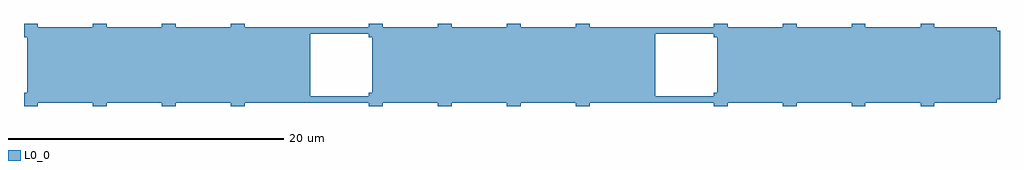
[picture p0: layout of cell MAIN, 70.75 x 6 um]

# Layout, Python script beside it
import gdspy

# Create a new library
lib = gdspy.GdsLibrary()

# Create a new cell
cell = lib.new_cell('MAIN')

# 1. Draw three rectangular active regions
active_width = 20
active_height = 5
active_spacing = 5

for i in range(3):
    x = i * (active_width + active_spacing)
    active = gdspy.Rectangle((x, 0), (x + active_width, active_height))
    cell.add(active)

# 2. Create complex polysilicon gate pattern
gate_width = 0.5
gate_spacing = 5
total_width = 3 * active_width + 2 * active_spacing
total_height = active_height

# Vertical lines
for x in range(0, int(total_width) + 1, gate_spacing):
    gate_v = gdspy.Path(gate_width, (x, 0))
    gate_v.segment(total_height, '+y')
    cell.add(gate_v)

# Horizontal lines
for y in range(0, int(total_height) + 1, gate_spacing):
    gate_h = gdspy.Path(gate_width, (0, y))
    gate_h.segment(total_width, '+x')
    cell.add(gate_h)

# 3. Add contact holes at intersections
contact_size = 1

for x in range(0, int(total_width) + 1, gate_spacing):
    for y in range(0, int(total_height) + 1, gate_spacing):
        # Check if the contact is within an active region
        active_index = x // (active_width + active_spacing)
        if 0 <= active_index < 3 and active_index * (active_width + active_spacing) <= x < (active_index + 1) * active_width + active_index * active_spacing:
            contact = gdspy.Rectangle((x - contact_size/2, y - contact_size/2),
                                      (x + contact_size/2, y + contact_size/2))
            cell.add(contact)

# Save the layout to a GDS file
lib.write_gds('layout.gds')

# Optional: View the layout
